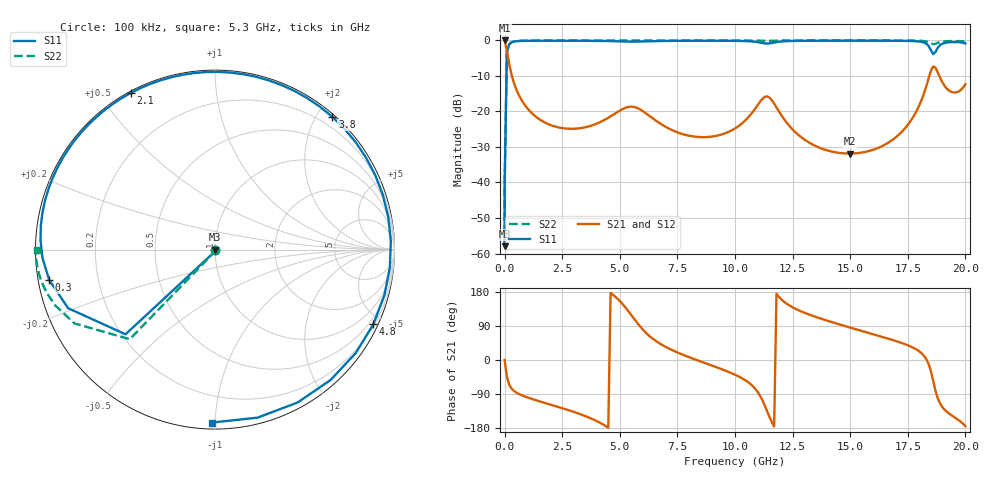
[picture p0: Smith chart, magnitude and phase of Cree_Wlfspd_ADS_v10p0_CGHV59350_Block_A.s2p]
! AWR Design Environment (6954) Tue Jul 07 12:52:29 2015
! Simulator: Linear circuit simulator
! Ports: 2, Freqs: 203
# GHz S MA R 50
!Freq  MagS11  AngS11  MagS21  AngS21  MagS12  AngS12  MagS22  AngS22
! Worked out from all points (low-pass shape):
!   202 points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, 100 kHz to 20 GHz, reference 50 ohm
!   highest |S21| = -0.01 dB at 100 kHz (marker M1); lowest = -31.8 dB at 15 GHz (marker M2)
!   |S21| within 3 dB of the highest: start of sweep to 105.1 MHz
!   lowest |S11| = -57.9 dB at 100 kHz (marker M3), VSWR 1.00, Z = 50.1 - j0.0936 ohm
!   |S11| at or under -10 dB: start of sweep to 82.13 MHz
!   |S22| runs from -57.9 to 0.0 dB; largest |S21 - S12| = 0
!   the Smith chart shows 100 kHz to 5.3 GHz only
!   S11 on the Smith chart (normalised r, x): 100 kHz: 1.00, -0.00; 300 MHz: 0.03, -0.09; 2.1 GHz: 0.01, +0.60; 3.8 GHz: 0.04, +2.22; 4.8 GHz: 0.26, -4.45; 5.3 GHz: 0.04, -0.98
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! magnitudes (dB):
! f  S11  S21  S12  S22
! 100 kHz  -57.9  0.0  0.0  -57.9
! 1 MHz  -40.6  0.0  0.0  -40.5
! 100 MHz  -3.3  -2.8  -2.8  -3.2
! 300 MHz  -0.5  -9.6  -9.6  -0.5
! 1 GHz  -0.1  -19.2  -19.2  -0.1
! 2.1 GHz  -0.1  -24.1  -24.1  0.0
! 3.4 GHz  -0.1  -24.6  -24.6  0.0
! 3.8 GHz  -0.1  -23.9  -23.9  0.0
! 4.8 GHz  -0.2  -20.6  -20.6  0.0
! 5.3 GHz  -0.3  -18.8  -18.8  -0.1
! 6.7 GHz  -0.2  -23.2  -23.2  0.0
! 8.5 GHz  -0.1  -27.2  -27.2  0.0
! 10.1 GHz  -0.1  -24.4  -24.4  0.0
! 11.4 GHz  -0.9  -15.8  -15.8  -0.1
! 12.5 GHz  -0.1  -25.1  -25.1  0.0
! 13.4 GHz  -0.1  -29.4  -29.4  0.0
! 15 GHz  -0.1  -31.8  -31.8  0.0
! 16.7 GHz  -0.1  -28.6  -28.6  0.0
! 17.8 GHz  -0.2  -20.8  -20.8  0.0
! 18.6 GHz  -3.9  -7.3  -7.3  -1.1
! 19.3 GHz  -0.5  -14.2  -14.2  -0.2
! 20 GHz  -0.8  -12.4  -12.4  -0.3
